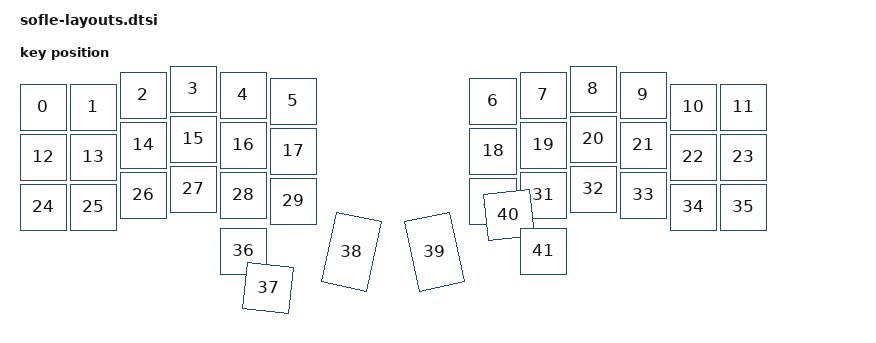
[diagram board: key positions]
#include <physical_layouts.dtsi>

/ {
    layout_0: layout_0 {
        compatible = "zmk,physical-layout";
        display-name = "LAYOUT";

        kscan = <&kscan0>;
        transform = <&default_transform>;

        keys  //                     w   h    x    y     rot    rx    ry
            = <&key_physical_attrs 100 100    0   36       0     0     0>
            , <&key_physical_attrs 100 100  100   36       0     0     0>
            , <&key_physical_attrs 100 100  200   12       0     0     0>
            , <&key_physical_attrs 100 100  300    0       0     0     0>
            , <&key_physical_attrs 100 100  400   12       0     0     0>
            , <&key_physical_attrs 100 100  500   24       0     0     0>
            , <&key_physical_attrs 100 100  900   24       0     0     0>
            , <&key_physical_attrs 100 100 1000   12       0     0     0>
            , <&key_physical_attrs 100 100 1100    0       0     0     0>
            , <&key_physical_attrs 100 100 1200   12       0     0     0>
            , <&key_physical_attrs 100 100 1300   36       0     0     0>
            , <&key_physical_attrs 100 100 1400   36       0     0     0>
//done row 1, to row 2
            , <&key_physical_attrs 100 100    0  136       0     0     0>
            , <&key_physical_attrs 100 100  100  136       0     0     0>
            , <&key_physical_attrs 100 100  200  112       0     0     0>
            , <&key_physical_attrs 100 100  300  100       0     0     0>
            , <&key_physical_attrs 100 100  400  112       0     0     0>
            , <&key_physical_attrs 100 100  500  124       0     0     0>
            , <&key_physical_attrs 100 100  900  124       0     0     0>
            , <&key_physical_attrs 100 100 1000  112       0     0     0>
            , <&key_physical_attrs 100 100 1100  100       0     0     0>
            , <&key_physical_attrs 100 100 1200  112       0     0     0>
            , <&key_physical_attrs 100 100 1300  136       0     0     0>
            , <&key_physical_attrs 100 100 1400  136       0     0     0>
//done row 2, to row 3
            , <&key_physical_attrs 100 100    0  236       0     0     0>
            , <&key_physical_attrs 100 100  100  236       0     0     0>
            , <&key_physical_attrs 100 100  200  212       0     0     0>
            , <&key_physical_attrs 100 100  300  200       0     0     0>
            , <&key_physical_attrs 100 100  400  212       0     0     0>
            , <&key_physical_attrs 100 100  500  224       0     0     0>
            , <&key_physical_attrs 100 100  900  224       0     0     0>
            , <&key_physical_attrs 100 100 1000  212       0     0     0>
            , <&key_physical_attrs 100 100 1100  200       0     0     0>
            , <&key_physical_attrs 100 100 1200  212       0     0     0>
            , <&key_physical_attrs 100 100 1300  236       0     0     0>
            , <&key_physical_attrs 100 100 1400  236       0     0     0>
//done row 3, to row 4
            , <&key_physical_attrs 100 100  400  324       0     0     0>
            , <&key_physical_attrs 100 100  500  348     600    50 (-50)>
            , <&key_physical_attrs 100 150  624  286    1200   600   333>
            , <&key_physical_attrs 100 150  776  286 (-1200)   900   333>        
            , <&key_physical_attrs 100 100  900  348  (-600)    50    50>
            , <&key_physical_attrs 100 100 1000  324       0     0     0>
            ;
    };
};
